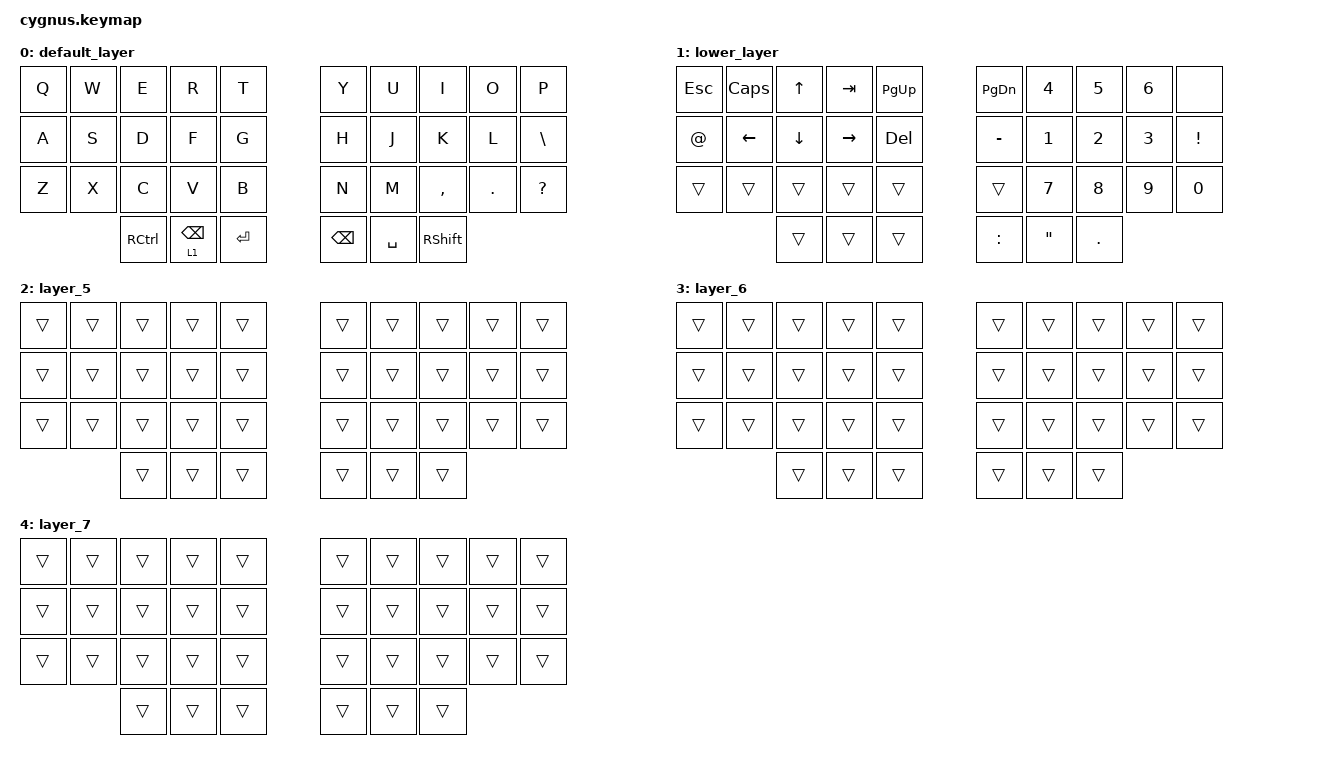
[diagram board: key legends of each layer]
/*
 * Copyright (c) 2020 The ZMK Contributors
 *
 * SPDX-License-Identifier: MIT
 */

#include <behaviors.dtsi>
#include <dt-bindings/zmk/keys.h>

&mt {
    tapping-term-ms = <200>;
    flavor = "tap-preferred";
};

&sk {
    release-after-ms = <2000>;
    quick-release;
};

/ {
    combos {
        compatible = "zmk,combos";

        left_bkt {
            bindings = <&kp LBKT>;
            key-positions = <3 2>;
            timeout-ms = <50>;
        };

        right_bkt {
            bindings = <&kp RBKT>;
            key-positions = <6 7>;
            timeout-ms = <50>;
        };

        left_par {
            bindings = <&kp LEFT_PARENTHESIS>;
            key-positions = <12 13>;
            timeout-ms = <50>;
        };

        right_par {
            bindings = <&kp RIGHT_PARENTHESIS>;
            key-positions = <16 17>;
            timeout-ms = <50>;
        };

        left_brace {
            bindings = <&kp LEFT_BRACE>;
            key-positions = <23 22>;
            timeout-ms = <50>;
        };

        right_brace {
            bindings = <&kp RIGHT_BRACE>;
            key-positions = <26 27>;
            timeout-ms = <50>;
        };

        bac {
            bindings = <&kp BACKSLASH>;
            key-positions = <4 5>;
        };

        pipe {
            bindings = <&kp PIPE>;
            key-positions = <14 15>;
        };
    };

    behaviors {
        tab_esc_ctrl: tab_esc_ctrl {
            compatible = "zmk,behavior-tap-dance";
            label = "TAB_ESC_CTRL";
            #binding-cells = <0>;
            bindings = <&mt LCTRL ESC>, <&kp TAB>;
        };

        gqt: global-quick-tap {
            compatible = "zmk,behavior-hold-tap";
            label = "GLOBAL_QUICK_TAP";
            bindings = <&kp>, <&kp>;

            #binding-cells = <2>;
            quick-tap-ms = <200>;
            tapping-term-ms = <250>;
            global-quick-tap;
        };

        ltq: ltq {
            compatible = "zmk,behavior-hold-tap";
            label = "LTQ";
            bindings = <&mo>, <&kp>;

            #binding-cells = <2>;
            tapping-term-ms = <250>;
            global-quick-tap;
            quick-tap-ms = <200>;
        };
    };

    keymap {
        compatible = "zmk,keymap";

        default_layer {
            bindings = <
&kp Q  &kp W  &kp E      &kp R             &kp T      &kp Y          &kp U      &kp I       &kp O       &kp P
&kp A  &kp S  &kp D      &kp F             &kp G      &kp H          &kp J      &kp K       &kp L       &kp BACKSLASH
&kp Z  &kp X  &kp C      &kp V             &kp B      &kp N          &kp M      &kp COMMA   &kp PERIOD  &kp QMARK
              &kp RCTRL  &ltq 1 BACKSPACE  &kp ENTER  &kp BACKSPACE  &kp SPACE  &kp RSHIFT
            >;
        };

        lower_layer {
            bindings = <
&kp ESC      &kp CAPSLOCK  &kp UP    &kp TAB    &kp PAGE_UP  &kp PAGE_DOWN  &kp NUMBER_4  &kp NUMBER_5  &kp NUMBER_6  &none
&kp AT_SIGN  &kp LEFT      &kp DOWN  &kp RIGHT  &kp DELETE   &kp MINUS      &kp NUMBER_1  &kp NUMBER_2  &kp NUMBER_3  &kp EXCLAMATION
&trans       &trans        &trans    &trans     &trans       &trans         &kp NUMBER_7  &kp NUMBER_8  &kp NUMBER_9  &kp NUMBER_0
                           &trans    &trans     &trans       &kp COLON      &kp DQT       &kp DOT
            >;
        };

        layer_5 {
            bindings = <
&trans  &trans  &trans  &trans  &trans  &trans  &trans  &trans  &trans  &trans
&trans  &trans  &trans  &trans  &trans  &trans  &trans  &trans  &trans  &trans
&trans  &trans  &trans  &trans  &trans  &trans  &trans  &trans  &trans  &trans
                &trans  &trans  &trans  &trans  &trans  &trans
            >;
        };

        layer_6 {
            bindings = <
&trans  &trans  &trans  &trans  &trans  &trans  &trans  &trans  &trans  &trans
&trans  &trans  &trans  &trans  &trans  &trans  &trans  &trans  &trans  &trans
&trans  &trans  &trans  &trans  &trans  &trans  &trans  &trans  &trans  &trans
                &trans  &trans  &trans  &trans  &trans  &trans
            >;
        };

        layer_7 {
            bindings = <
&trans  &trans  &trans  &trans  &trans  &trans  &trans  &trans  &trans  &trans
&trans  &trans  &trans  &trans  &trans  &trans  &trans  &trans  &trans  &trans
&trans  &trans  &trans  &trans  &trans  &trans  &trans  &trans  &trans  &trans
                &trans  &trans  &trans  &trans  &trans  &trans
            >;
        };
    };
};
